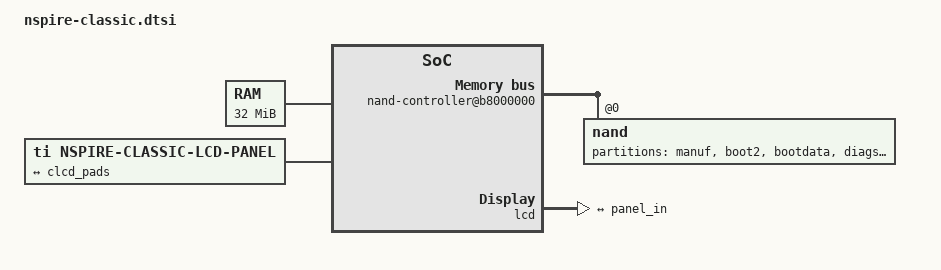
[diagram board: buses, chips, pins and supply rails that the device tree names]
// SPDX-License-Identifier: GPL-2.0-only
/*
 *  Copyright (C) 2013 Daniel Tang <tangrs@tangrs.id.au>
 */

#include "nspire.dtsi"

&lcd {
	port {
		clcd_pads: endpoint {
			remote-endpoint = <&panel_in>;
		};
	};
};

&fast_timer {
	/* compatible = "lsi,zevio-timer"; */
	reg = <0x90010000 0x1000>, <0x900a0010 0x8>;
};

&uart {
	compatible = "ns16550";
	reg-shift = <2>;
	reg-io-width = <4>;
	clocks = <&apb_pclk>;
	no-loopback-test;
};

&timer0 {
	/* compatible = "lsi,zevio-timer"; */
	reg = <0x900c0000 0x1000>, <0x900a0018 0x8>;
};

&timer1 {
	compatible = "lsi,zevio-timer";
	reg = <0x900d0000 0x1000>, <0x900a0020 0x8>;
};

&keypad {
	active-low;

};

&contrast {
	compatible = "ti,nspire-classic-contrast";
};

&base_clk {
	compatible = "lsi,nspire-classic-clock";
};

&ahb_clk {
	compatible = "lsi,nspire-classic-ahb-divider";
};


&vbus_reg {
	gpio = <&gpio 5 0>;
};

/ {
	memory@10000000 {
		device_type = "memory";
		reg = <0x10000000 0x2000000>; /* 32 MB */
	};

	ahb {
		#address-cells = <1>;
		#size-cells = <1>;

		intc: interrupt-controller@dc000000 {
			compatible = "lsi,zevio-intc";
			interrupt-controller;
			reg = <0xdc000000 0x1000>;
			#interrupt-cells = <1>;
		};

		/* Partitions as laid out by the TI-Nspire OS */
		nand-controller@b8000000 {
			compatible = "ti,nspire-classic-nand";
			reg = <0xb8000000 0x1000>;
			#address-cells = <1>;
			#size-cells = <0>;

			nand@0 {
				reg = <0>;

				partitions {
					compatible = "fixed-partitions";
					#address-cells = <1>;
					#size-cells = <1>;

					partition@0 {
						label = "manuf";
						reg = <0x0 0x4000>;
						read-only;
					};

					partition@4000 {
						label = "boot2";
						reg = <0x4000 0x14c000>;
						read-only;
					};

					partition@150000 {
						label = "bootdata";
						reg = <0x150000 0x10000>;
						read-only;
					};

					partition@160000 {
						label = "diags";
						reg = <0x160000 0xa0000>;
						read-only;
					};

					partition@200000 {
						label = "filesystem";
						reg = <0x200000 0x1e00000>;
						read-only;
					};
				};
			};
		};
	};

	panel {
		compatible = "ti,nspire-classic-lcd-panel";
		port {
			panel_in: endpoint {
				remote-endpoint = <&clcd_pads>;
			};
		};
	};
	chosen {
		bootargs = "debug earlyprintk console=tty0 console=ttyS0,115200n8 root=/dev/ram0";
	};
};
